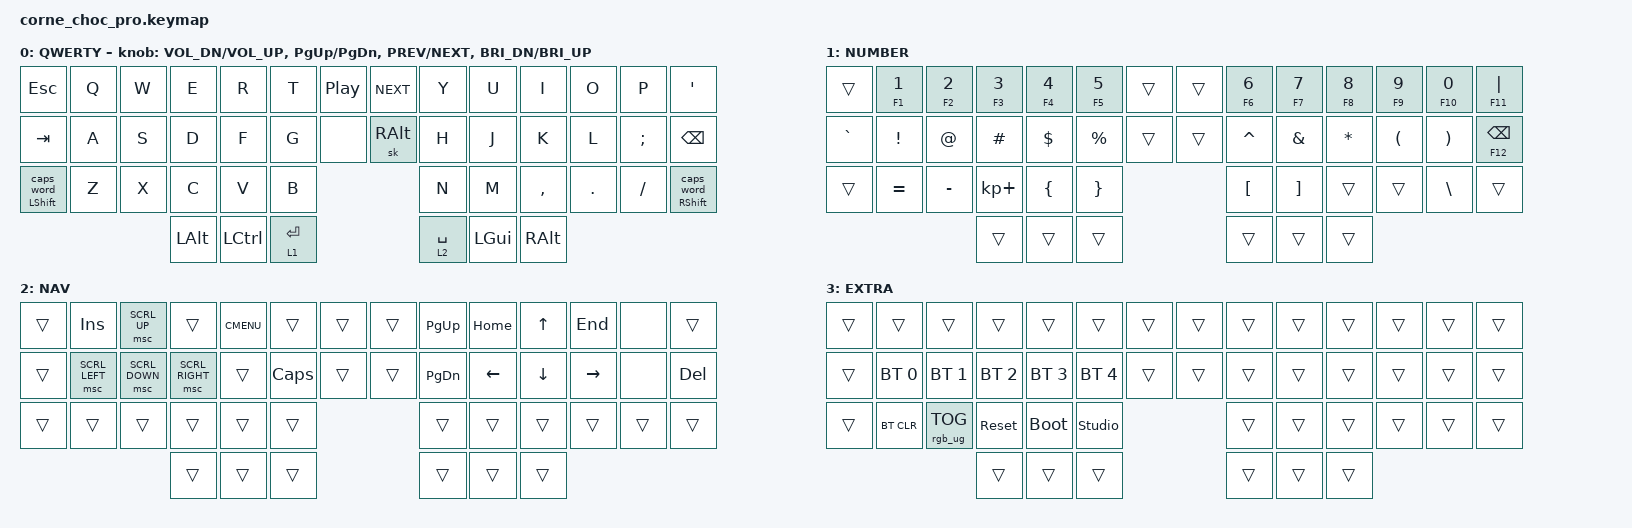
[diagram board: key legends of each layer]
/*
 * Copyright (c) 2020 The ZMK Contributors
 *
 * SPDX-License-Identifier: MIT
 */

#include <behaviors.dtsi>
#include <dt-bindings/zmk/keys.h>
#include <dt-bindings/zmk/bt.h>
#include <dt-bindings/zmk/rgb.h>
#include <dt-bindings/zmk/pointing.h>

/ {
    behaviors {
        // Hold-Tap with SHFT-CapsWord
        caps: capsword_with_shift {
                compatible = "zmk,behavior-hold-tap";
                #binding-cells = <2>;
                flavor = "hold-preferred";
                tapping-term-ms = <150>;
                quick-tap-ms = <0>;
                bindings = <&kp>, <&caps_word>;
        };
        // Hold-Tap for number (tap) and F-key (hold)
        ht_nf: mod_tap {
            compatible = "zmk,behavior-hold-tap";
            #binding-cells = <2>;
            flavor = "balanced";
            tapping-term-ms = <300>;
            bindings = <&kp>, <&kp>;
            display-name = "Mod-Tap";
        };
    };
};



#define BASE 0
#define NUMBER 1
#define NAV 2
#define EXTRA 3

&sk {
    release-after-ms = <2000>;
    quick-release;
    /delete-property/ ignore-modifiers;
};

/ {
    // Activate EXTRA layer by pressing NUMBER and SYMBOL
    conditional_layers {
        compatible = "zmk,conditional-layers";
        adjust_layer {
            if-layers = <NUMBER NAV>;
            then-layer = <EXTRA>;
        };
    };
    keymap {
        compatible = "zmk,keymap";

        default_layer {
            display-name = "QWERTY";
            // |kp COMMA | reference for sizing: 9 characters between pipes
            // _______________________________________________________________________________________________________________________________________________     
            // |   ESC   |    Q    |    W    |    E    |    R    |    T    |    PP   | |   NEXT  |    Y    |    U    |    I    |    O    |     P   |    '    |
            // |   TAB   |    A    |    S    |    D    |    F    |    G    |   none  | |  R ALT  |    H    |    J    |    K    |    L    |     ;   |   BSPC  |
            // |w_caps sh|    Z    |    X    |    C    |    V    |    B    |                     |    N    |    M    |    ,    |    .    |     /   |w_caps sh|
            //                               |  L ALT  |   CTRL  | LWR RET |                     | RSE SPC |   GUI   |  AltGr  |
            bindings = <
            // |---------|---------|---------|---------|---------|---------|---------| |---------|---------|---------|---------|---------|---------|---------|
                &kp ESC   &kp Q     &kp W     &kp E     &kp R     &kp T     &kp C_PP    &kp C_NEXT &kp Y    &kp U     &kp I     &kp O     &kp P     &kp SQT
                &kp TAB   &kp A     &kp S     &kp D     &kp F     &kp G     &none       &sk RALT  &kp H     &kp J     &kp K     &kp L     &kp SEMI  &kp BSPC
                &caps LSHFT 0 &kp Z &kp X     &kp C     &kp V     &kp B                           &kp N     &kp M     &kp COMMA &kp DOT   &kp FSLH  &caps RSHFT 0
                                              &kp LALT  &kp LCTRL &lt 1 RET                       &lt 2 SPC &kp LGUI  &kp RALT
            >;
            sensor-bindings = <&inc_dec_kp C_VOL_DN C_VOL_UP &inc_dec_kp PG_UP PG_DN       &inc_dec_kp C_PREV C_NEXT &inc_dec_kp C_BRI_DN C_BRI_UP>;
        };

        lower_layer {
            display-name = "NUMBER";
            // _______________________________________________________________________________________________________________________________________________
            // |         |    1    |    2    |    3    |    4    |    5    |         | |         |    6    |    7    |    8    |    9    |    0    |    |    |
            // |    `    |    !    |    @    |    #    |    $    |    %    |         | |         |    ^    |    &    |    *    |   (     |    )    |         |
            // |         |    =    |    -    |    +    |    {    |    }    |                     |    [    |    ]    |         |         |    \    |         |
            //                               |         |         |         |                     |         |         |         |
            bindings = <
            // |---------|---------|---------|---------|---------|---------|---------| |---------|---------|---------|---------|---------|---------|---------|
                &trans    &ht_nf F1 N1 &ht_nf F2 N2 &ht_nf F3 N3 &ht_nf F4 N4 &ht_nf F5 N5 &trans &trans    &ht_nf F6 N6 &ht_nf F7 N7 &ht_nf F8 N8 &ht_nf F9 N9 &ht_nf F10 N0 &ht_nf F11 PIPE
                &kp GRAVE &kp EXCL  &kp AT    &kp HASH  &kp DLLR  &kp PRCNT &trans      &trans    &kp CARET &kp AMPS  &kp ASTRK &kp LPAR  &kp RPAR  &ht_nf F12 BSPC
                &trans    &kp EQUAL &kp MINUS &kp KP_PLUS &kp LBRC &kp RBRC                       &kp LBKT  &kp RBKT  &trans    &trans    &kp BSLH  &trans
                                              &trans    &trans    &trans                          &trans    &trans    &trans
            >;
        };

        raise_layer {
            display-name = "NAV";
            // _____________________________________________________________________________________________________________________________________________________________
            // |          |   INS    | SCRL_UP  |          | K_CMENU  |          |          | |          |  PG_UP   |   HOME   |    UP    |    END   |   ---    |          |
            // |          |SCRL_LEFT |SCRL_DOWN |SCRL_RIGHT|          |   CAPS   |          | |          |  PG_DN   |   LEFT   |   DOWN   |   RIGHT  |   ---    |   DEL    |
            // |          |          |          |          |          |          |                       |          |          |          |          |          |          |
            //                                  |          |          |          |                       |          |          |          |
            bindings = <
                &trans    &kp INS    &msc SCRL_UP &trans   &kp K_CMENU &trans    &trans       &trans      &kp PG_UP  &kp HOME   &kp UP     &kp END    &none      &trans
                &trans    &msc SCRL_LEFT &msc SCRL_DOWN &msc SCRL_RIGHT &trans   &kp CLCK &trans &trans   &kp PG_DN  &kp LEFT   &kp DOWN   &kp RIGHT  &none      &kp DEL
                &trans     &trans     &trans     &trans     &trans     &trans                             &trans     &trans     &trans     &trans     &trans     &trans
                                                 &trans     &trans     &trans                             &trans     &trans     &trans
            >;
        };

        extra_layer {
            display-name = "EXTRA";
            // |&bt BT_SEL 0| reference for sizing
            // _______________________________________________________________________________________________________________________________________________________________________________________
            // |            |            |            |            |            |            |            |            |            |            |            |            |            |            |
            // |            |    BT1     |    BT2     |    BT3     |    BT4     |    BT5     |            |            |            |            |            |            |            |            |
            // |            |  BT clear  |    RGB     |    RST     |    BOOT    |    Unlock  |                         |            |            |            |            |            |            |
            //                                        |            |            |            |                         |            |            |            |
            bindings = <
                &trans       &trans       &trans       &trans       &trans       &trans       &trans       &trans       &trans       &trans       &trans       &trans       &trans       &trans
                &trans       &bt BT_SEL 0 &bt BT_SEL 1 &bt BT_SEL 2 &bt BT_SEL 3 &bt BT_SEL 4 &trans       &trans       &trans       &trans       &trans       &trans       &trans       &trans
                &trans       &bt BT_CLR   &rgb_ug RGB_TOG &sys_reset &bootloader &studio_unlock                         &trans       &trans       &trans       &trans       &trans       &trans
                                                       &trans       &trans       &trans                                 &trans       &trans       &trans       
            >;
        };
    };
};
